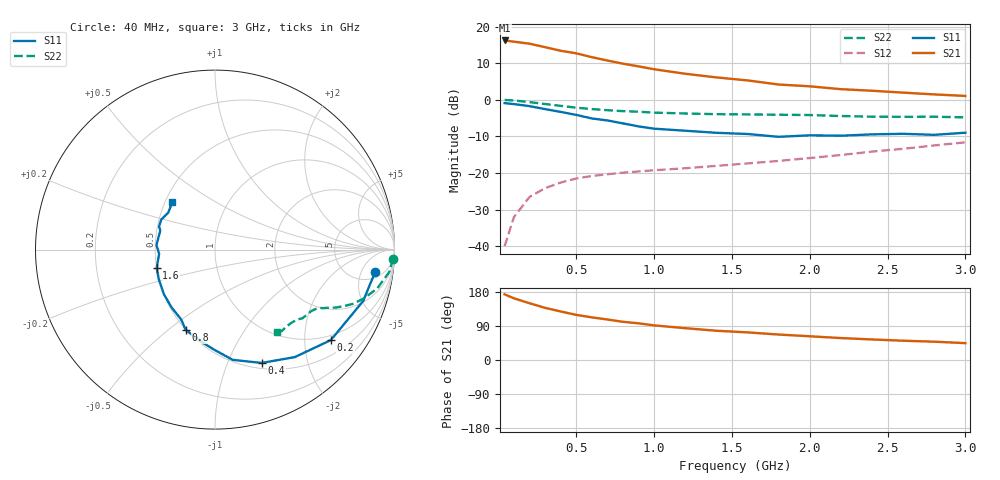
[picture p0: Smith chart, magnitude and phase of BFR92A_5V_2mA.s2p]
! Filename:  BFR92AA.S2P  Version:  2.0
! Philips part #: BFR92A  Date: May 1990
! Bias condition: Vce=5V, Ic=2mA
#  MHz  S  MA  R  50
! Freq  S11  S21  S12  S22  !GUM [dB]
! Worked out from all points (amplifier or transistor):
!   21 points, 40 MHz to 3 GHz, reference 50 ohm
!   highest |S21| = 16.2 dB at 40 MHz (marker M1)
!   |S21| within 3 dB of that: start of sweep to 427 MHz
!   unconditionally stable (mu >= 1): 1.565 GHz to 2.87 GHz
!   at 300 MHz: K = 0.29, MSG = 19.3 dB, |S12| = -24.2 dB
!   at 1 GHz: K = 0.81, MSG = 13.8 dB, |S12| = -19.3 dB
!   at 3 GHz: K = 0.98, MSG = 6.3 dB, |S12| = -11.6 dB
!   S11 on the Smith chart (normalised r, x): 40 MHz: 7, -9; 200 MHz: 0.87, -2.65; 400 MHz: 0.56, -1.34; 800 MHz: 0.50, -0.58; 1.6 GHz: 0.50, -0.12; 3 GHz: 0.55, +0.33
40  0.901 -7.9  6.467 173.2  0.01 86.1  0.994 -2.9
100  0.874 -19.1  6.222 162.8  0.025 78.1  0.979 -7.3
200  0.819 -38.0  5.842 149.8  0.047 70.8  0.93 -13.4
300  0.746 -53.4  5.235 137.6  0.062 64.0  0.875 -18.0
400  0.683 -67.6  4.679 128.1  0.074 58.8  0.827 -21.4
500  0.622 -80.9  4.317 119.1  0.084 55.7  0.78 -23.9
600  0.556 -90.8  3.824 112.5  0.091 53.5  0.747 -25.6
700  0.522 -97.7  3.441 106.9  0.096 53.0  0.721 -26.7
800  0.476 -110.1  3.116 100.8  0.101 52.4  0.7 -27.6
900  0.433 -115.7  2.863 96.8  0.105 53.4  0.687 -28.4
1000  0.403 -126.9  2.615 91.4  0.109 54.5  0.668 -29.1
1200  0.378 -138.9  2.269 84.0  0.116 56.2  0.65 -30.7
1400  0.354 -152.1  2.023 77.2  0.125 58.8  0.636 -32.6
1600  0.341 -162.5  1.84 72.9  0.135 62.8  0.631 -34.3
1800  0.312 -175.7  1.617 67.2  0.146 66.2  0.625 -36.2
2000  0.327 175.7  1.529 62.6  0.16 68.7  0.619 -38.2
2200  0.323 160.6  1.397 57.9  0.176 71.3  0.6 -40.6
2400  0.337 157.7  1.329 54.2  0.196 72.5  0.588 -44.4
2600  0.343 150.9  1.253 50.9  0.214 74.1  0.585 -48.0
2800  0.332 141.7  1.184 48.3  0.238 75.0  0.587 -50.8
3000  0.355 132.2  1.129 44.5  0.262 74.7  0.575 -53.1
